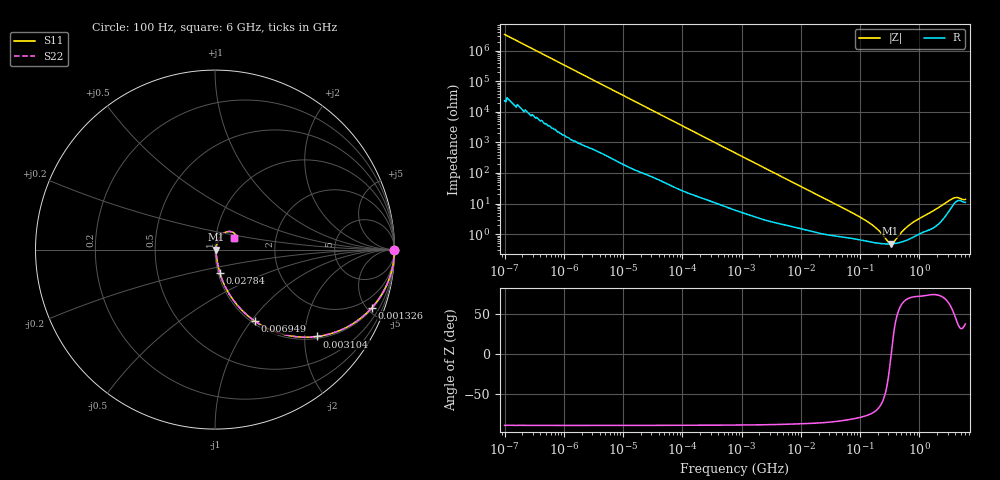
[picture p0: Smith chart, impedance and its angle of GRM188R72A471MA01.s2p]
!Murata Part Number: GRM188R72A471MA01
!These Parameters are Measured in Series Mode Connection
!Data Generated on Mar 30, 2021
!  o--ll--o
!Port1  Port2
!  o------o
!Operation Temp=25[degC], DC Bias Voltage=0[V]
!Freq. Start=100[Hz] Stop=6[GHz] 401[Steps]
# Hz S RI R 50
!Freq.(Hz) S11(Real) S11(Imag) S21(Real) S21(Imag) S12(Real) S12(Imag) S22(Real) S22(Imag)
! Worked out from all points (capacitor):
!   401 points, 100 Hz to 6 GHz, reference 50 ohm
!   read as one part in series: C = 465 pF near 109 Hz
!   lowest |Z| = 486 mohm at 326.7 MHz (marker M1)
!   series resonance near 335.6 MHz, so ESL is about 480 pH
!   S11 on the Smith chart (normalised r, x): 100 Hz: open; 1.326 MHz: 1.09, -5.37; 3.104 MHz: 1.05, -2.31; 6.949 MHz: 1.04, -1.04; 27.84 MHz: 1.02, -0.26; 6 GHz: 1.22, +0.17
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100  1 -2.93e-05  2e-07 2.93e-05  2e-07 2.93e-05  1 -2.93e-05
350  1 -0.000102  7e-07 0.000102  7e-07 0.000102  1 -0.000102
2008  1 -0.000582  3.2e-06 0.000582  3.2e-06 0.000582  1 -0.000582
40335  0.9998 -0.0116  0.000213 0.0116  0.000213 0.0116  0.9998 -0.0116
241822  0.9946 -0.0683  0.00536 0.0683  0.00536 0.0683  0.9946 -0.0683
774597  0.9519 -0.2075  0.0481 0.2075  0.0481 0.2075  0.9519 -0.2075
1325623  0.8742 -0.3237  0.1258 0.3237  0.1258 0.3237  0.8742 -0.3237
3103719  0.5699 -0.4841  0.4301 0.4841  0.4301 0.4841  0.5699 -0.4841
4440638  0.3989 -0.4764  0.6011 0.4764  0.6011 0.4764  0.3989 -0.4764
6948629  0.2213 -0.3983  0.7787 0.3983  0.7787 0.3983  0.2213 -0.3983
1.555665e7  0.0627 -0.2182  0.9373 0.2182  0.9373 0.2182  0.0627 -0.2182
2.784235e7  0.0262 -0.1278  0.9738 0.1278  0.9738 0.1278  0.0262 -0.1278
1.395531e8  0.00623 -0.0234  0.9938 0.0234  0.9938 0.0234  0.00623 -0.0234
2.088084e8  0.00512 -0.0118  0.9949 0.0118  0.9949 0.0118  0.00512 -0.0118
3.124326e8  0.00478 -0.00174  0.9952 0.00174  0.9952 0.00174  0.00478 -0.00174
3.267395e8  0.0048 -0.000647  0.9952 0.000647  0.9952 0.000647  0.0048 -0.000647
3.737127e8  0.00491 0.00264  0.9951 -0.00264  0.9951 -0.00264  0.00491 0.00264
5.346885e8  0.00583 0.0118  0.9942 -0.0118  0.9942 -0.0118  0.00583 0.0118
7.31507e8  0.00775 0.0206  0.9922 -0.0206  0.9922 -0.0206  0.00775 0.0206
3.065283e9  0.0589 0.0967  0.9411 -0.0967  0.9411 -0.0967  0.0589 0.0967
4.009986e9  0.1065 0.0919  0.8935 -0.0919  0.8935 -0.0919  0.1065 0.0919
6e9  0.1037 0.0673  0.8963 -0.0673  0.8963 -0.0673  0.1037 0.0673
